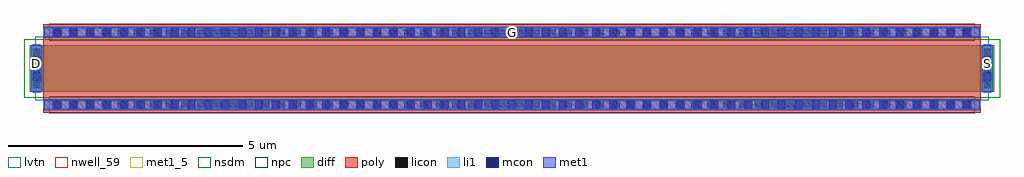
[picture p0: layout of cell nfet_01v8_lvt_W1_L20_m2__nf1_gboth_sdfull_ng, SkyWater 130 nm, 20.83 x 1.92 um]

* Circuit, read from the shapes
.subckt nfet_01v8_lvt_W1_L20_m2__nf1_gboth_sdfull_ng B D G S
XM1 S G D B sky130_fd_pr__nfet_01v8_lvt w=1 l=20
.ends

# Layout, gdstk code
import gdstk
lib = gdstk.Library(unit=1e-6, precision=1e-09)
def R(c, l, rs):  # rectangles x0, y0, x1, y1
    for r in rs: c.add(gdstk.rectangle(r[:2], r[2:], *l))
def A(c, l, x, y, w, h, nx, ny, dx, dy):  # array of equal rectangles
    R(c, l, [(x+i*dx, y+j*dy, x+i*dx+w, y+j*dy+h) for i in range(nx) for j in range(ny)])
nwell_59 = (64, 59)
diff = (65, 20)
poly = (66, 20)
licon = (66, 44)
li1 = (67, 20)
mcon = (67, 44)
met1_5 = (68, 5)
met1 = (68, 20)
nsdm = (93, 44)
npc = (95, 20)
lvtn = (125, 44)

sky130_fd_pr__nfet_01v8_ = lib.new_cell('sky130_fd_pr__nfet_01v8_lvt_YRHGMU')
R(sky130_fd_pr__nfet_01v8_, diff, [(-10.29,-0.5,10.29,0.5)])
R(sky130_fd_pr__nfet_01v8_, poly, [(-10,-0.94,10,0.94)])
A(sky130_fd_pr__nfet_01v8_, licon, -9.775, -0.86, 0.17, 0.17, 58, 2, 0.34, 1.55)
A(sky130_fd_pr__nfet_01v8_, licon, -10.23, -0.425, 0.17, 0.17, 1, 3, 0, 0.34)
A(sky130_fd_pr__nfet_01v8_, licon, 10.06, -0.425, 0.17, 0.17, 1, 3, 0, 0.34)
R(sky130_fd_pr__nfet_01v8_, li1, [(-10,-0.86,10,-0.69), (-10.23,-0.52,-10.06,0.52), (10.06,-0.52,10.23,0.52), (-10,0.69,10,0.86)])
A(sky130_fd_pr__nfet_01v8_, mcon, -9.805, -0.86, 0.17, 0.17, 55, 2, 0.36, 1.55)
R(sky130_fd_pr__nfet_01v8_, mcon, [(-10.23,-0.265,-10.06,-0.095), (10.06,-0.265,10.23,-0.095), (-10.23,0.095,-10.06,0.265), (10.06,0.095,10.23,0.265)])
R(sky130_fd_pr__nfet_01v8_, met1, [(-9.98,-0.89,9.98,-0.66), (-10.26,-0.5,-10.03,0.5), (10.03,-0.5,10.26,0.5), (-9.98,0.66,9.98,0.89)])
R(sky130_fd_pr__nfet_01v8_, nsdm, [(-10.415,-0.625,10.415,0.625)])
R(sky130_fd_pr__nfet_01v8_, npc, [(-9.875,-0.96,9.875,-0.59), (-9.875,0.59,9.875,0.96)])
R(sky130_fd_pr__nfet_01v8_, lvtn, [(-10.18,-0.68,10.18,0.68)])
sky130_fd_pr__nfet_01v8_.add(gdstk.Label('D', (-10.145,0), layer=67, texttype=5))
sky130_fd_pr__nfet_01v8_.add(gdstk.Label('S', (10.145,0), layer=67, texttype=5))
sky130_fd_pr__nfet_01v8_.add(gdstk.Label('G', (0,0.775), layer=67, texttype=5))

nfet_01v8_lvt_w1_l20_m2_ = lib.new_cell('nfet_01v8_lvt_W1_L20_m2__nf1_gboth_sdfull_ng')
R(nfet_01v8_lvt_w1_l20_m2_, nwell_59, [(0.05,0.89,0.15,0.99)])
R(nfet_01v8_lvt_w1_l20_m2_, met1_5, [(0.03,0.94,0.26,1.14), (20.32,0.94,20.55,1.14), (0.31,1.6,20.27,1.83)])
R(nfet_01v8_lvt_w1_l20_m2_, met1, [(0.03,0.94,0.26,1.14), (20.32,0.94,20.55,1.14), (0.31,1.6,20.27,1.83)])
nfet_01v8_lvt_w1_l20_m2_.add(gdstk.Reference(sky130_fd_pr__nfet_01v8_, (10.29,0.94)))
nfet_01v8_lvt_w1_l20_m2_.add(gdstk.Label('D', (0.145,1.04), layer=68, texttype=5))
nfet_01v8_lvt_w1_l20_m2_.add(gdstk.Label('S', (20.435,1.04), layer=68, texttype=5))
nfet_01v8_lvt_w1_l20_m2_.add(gdstk.Label('G', (10.29,1.715), layer=68, texttype=5))
nfet_01v8_lvt_w1_l20_m2_.add(gdstk.Label('B', (0.1,0.94), layer=64, texttype=59))

lib.write_gds('nfet_01v8_lvt_W1_L20_m2__nf1_gboth_sdfull_ng.gds')
